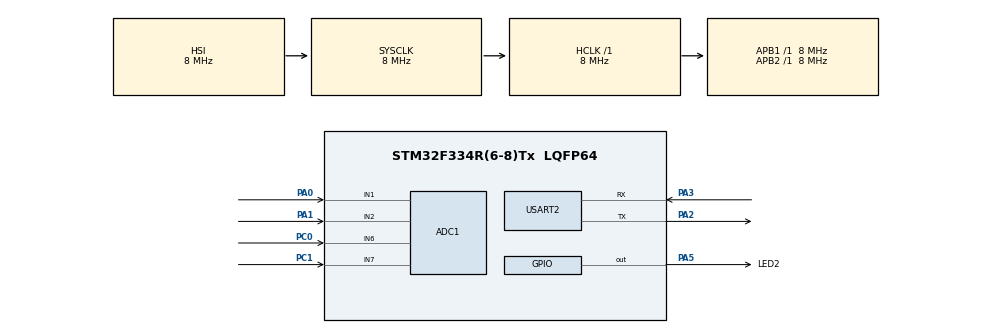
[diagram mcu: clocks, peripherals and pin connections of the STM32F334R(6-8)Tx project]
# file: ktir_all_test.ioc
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ADC1.Channel-0\#ChannelRegularConversion=ADC_CHANNEL_1
ADC1.Channel-1\#ChannelRegularConversion=ADC_CHANNEL_2
ADC1.Channel-2\#ChannelRegularConversion=ADC_CHANNEL_6
ADC1.Channel-3\#ChannelRegularConversion=ADC_CHANNEL_7
ADC1.ContinuousConvMode=DISABLE
ADC1.NbrOfConversion=4
ADC1.NbrOfConversionFlag=1
ADC1.Offset-0\#ChannelRegularConversion=0
ADC1.Offset-1\#ChannelRegularConversion=0
ADC1.Offset-2\#ChannelRegularConversion=0
ADC1.Offset-3\#ChannelRegularConversion=0
ADC1.OffsetNumber-0\#ChannelRegularConversion=ADC_OFFSET_NONE
ADC1.OffsetNumber-1\#ChannelRegularConversion=ADC_OFFSET_NONE
ADC1.OffsetNumber-2\#ChannelRegularConversion=ADC_OFFSET_NONE
ADC1.OffsetNumber-3\#ChannelRegularConversion=ADC_OFFSET_NONE
ADC1.Rank-0\#ChannelRegularConversion=1
ADC1.Rank-1\#ChannelRegularConversion=2
ADC1.Rank-2\#ChannelRegularConversion=3
ADC1.Rank-3\#ChannelRegularConversion=4
ADC1.SamplingTime-0\#ChannelRegularConversion=ADC_SAMPLETIME_1CYCLE_5
ADC1.SamplingTime-1\#ChannelRegularConversion=ADC_SAMPLETIME_1CYCLE_5
ADC1.SamplingTime-2\#ChannelRegularConversion=ADC_SAMPLETIME_1CYCLE_5
ADC1.SamplingTime-3\#ChannelRegularConversion=ADC_SAMPLETIME_1CYCLE_5
ADC1.SamplingTimeOPAMP-3\#ChannelRegularConversion=ADC_SAMPLETIME_7CYCLES_5
ADC1.master=1
Dma.ADC1.0.Direction=DMA_PERIPH_TO_MEMORY
Dma.ADC1.0.Instance=DMA1_Channel1
Dma.ADC1.0.MemDataAlignment=DMA_MDATAALIGN_HALFWORD
Dma.ADC1.0.MemInc=DMA_MINC_ENABLE
Dma.ADC1.0.Mode=DMA_NORMAL
Dma.ADC1.0.PeriphDataAlignment=DMA_PDATAALIGN_HALFWORD
Dma.ADC1.0.PeriphInc=DMA_PINC_DISABLE
Dma.ADC1.0.Priority=DMA_PRIORITY_LOW
Dma.Request0=ADC1
Mcu.Family=STM32F3
Mcu.Name=STM32F334R(6-8)Tx
Mcu.Package=LQFP64
NVIC.DMA1_Channel1_IRQn=true\:0\:0\:false\:false\:true\:false\:true
NVIC.PriorityGroup=NVIC_PRIORITYGROUP_4
PA0.Mode=IN1-Single-Ended
PA0.Signal=ADC1_IN1
PA1.Mode=IN2-Single-Ended
PA1.Signal=ADC1_IN2
PA2.Mode=Asynchronous
PA2.Signal=USART2_TX
PA3.Mode=Asynchronous
PA3.Signal=USART2_RX
PA5.GPIO_Label=LED2
PA5.Signal=GPIO_Output
PC0.Signal=ADCx_IN6
PC1.Signal=ADCx_IN7
ProjectManager.HeapSize=0x200
ProjectManager.StackSize=0x400
ProjectManager.TargetToolchain=STM32CubeIDE
RCC.AHBFreq_Value=8000000
RCC.APB1Freq_Value=8000000
RCC.APB2Freq_Value=8000000
RCC.CortexFreq_Value=8000000
RCC.HSE_VALUE=8000000
RCC.HSI_VALUE=8000000
RCC.LSE_VALUE=32768
RCC.PLLMUL=RCC_PLL_MUL4
RCC.SYSCLKFreq_VALUE=8000000
SH.ADCx_IN6.0=ADC1_IN6,IN6-Single-Ended
SH.ADCx_IN7.0=ADC1_IN7,IN7-Single-Ended
USART2.VirtualMode-Asynchronous=VM_ASYNC
board=custom

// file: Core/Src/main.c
/* USER CODE BEGIN Header */
/**
  ******************************************************************************
  * @file           : main.c
  * @brief          : Main program body
  ******************************************************************************
  * @attention
  *
  * Copyright (c) 2022 STMicroelectronics.
  * All rights reserved.
  *
  * This software is licensed under terms that can be found in the LICENSE file
  * in the root directory of this software component.
  * If no LICENSE file comes with this software, it is provided AS-IS.
  *
  ******************************************************************************
  */
/* USER CODE END Header */
#include "main.h"

/* USER CODE BEGIN Includes */
#include <stdio.h>

/* USER CODE END Includes */

/* USER CODE BEGIN PD */
#define NUMBER_OF_SENSORS 4
/* USER CODE END PD */

ADC_HandleTypeDef hadc1;
DMA_HandleTypeDef hdma_adc1;

UART_HandleTypeDef huart2;

/* USER CODE BEGIN PV */
volatile uint16_t	ktir_results[NUMBER_OF_SENSORS];
volatile uint8_t 	conversion_complete = 0;
/* USER CODE END PV */

void SystemClock_Config(void);
static void MX_GPIO_Init(void);
static void MX_DMA_Init(void);
static void MX_ADC1_Init(void);
static void MX_USART2_UART_Init(void);

/* USER CODE BEGIN 0 */
int __io_putchar(int ch)
{
  if (ch == '\n') {
    __io_putchar('\r');
  }

  HAL_UART_Transmit(&huart2, (uint8_t*)&ch, 1, HAL_MAX_DELAY);

  return 1;
}

void HAL_ADC_ConvCpltCallback(ADC_HandleTypeDef* hadc)
{
	conversion_complete = 1;
}
/* USER CODE END 0 */

int main(void)
{

  /* MCU Configuration--------------------------------------------------------*/

  /* Reset of all peripherals, Initializes the Flash interface and the Systick. */
  HAL_Init();

  /* Configure the system clock */
  SystemClock_Config();

  /* Initialize all configured peripherals */
  MX_GPIO_Init();
  MX_DMA_Init();
  MX_ADC1_Init();
  MX_USART2_UART_Init();

  /* Infinite loop */
  /* USER CODE BEGIN WHILE */
  	uint32_t tick = HAL_GetTick();
	while (1)
	{
    /* USER CODE END WHILE */

    /* USER CODE BEGIN 3 */
	  if(HAL_GetTick() - tick > 400){
		  HAL_ADC_Start_DMA(&hadc1, (uint32_t*) ktir_results, NUMBER_OF_SENSORS);
		  while (conversion_complete == 0){
			  printf(".");
		  }
		  conversion_complete = 0;
		  printf("\n");

		  printf("Result 1: %d\tResult 2: %d\tResult 3: %d\tResult 4: %d\n", ktir_results[0], ktir_results[1], ktir_results[2], ktir_results[3]);
		  tick = HAL_GetTick();
		  HAL_GPIO_TogglePin(LED2_GPIO_Port, LED2_Pin);
	  }
	}
  /* USER CODE END 3 */
}

void SystemClock_Config(void)
{
  RCC_OscInitTypeDef RCC_OscInitStruct = {0};
  RCC_ClkInitTypeDef RCC_ClkInitStruct = {0};
  RCC_PeriphCLKInitTypeDef PeriphClkInit = {0};

  /** Initializes the RCC Oscillators according to the specified parameters
  * in the RCC_OscInitTypeDef structure.
  */
  RCC_OscInitStruct.OscillatorType = RCC_OSCILLATORTYPE_HSI;
  RCC_OscInitStruct.HSIState = RCC_HSI_ON;
  RCC_OscInitStruct.HSICalibrationValue = RCC_HSICALIBRATION_DEFAULT;
  RCC_OscInitStruct.PLL.PLLState = RCC_PLL_ON;
  RCC_OscInitStruct.PLL.PLLSource = RCC_PLLSOURCE_HSI;
  RCC_OscInitStruct.PLL.PLLMUL = RCC_PLL_MUL4;
  if (HAL_RCC_OscConfig(&RCC_OscInitStruct) != HAL_OK)
  {
    Error_Handler();
  }
  /** Initializes the CPU, AHB and APB buses clocks
  */
  RCC_ClkInitStruct.ClockType = RCC_CLOCKTYPE_HCLK|RCC_CLOCKTYPE_SYSCLK
                              |RCC_CLOCKTYPE_PCLK1|RCC_CLOCKTYPE_PCLK2;
  RCC_ClkInitStruct.SYSCLKSource = RCC_SYSCLKSOURCE_HSI;
  RCC_ClkInitStruct.AHBCLKDivider = RCC_SYSCLK_DIV1;
  RCC_ClkInitStruct.APB1CLKDivider = RCC_HCLK_DIV1;
  RCC_ClkInitStruct.APB2CLKDivider = RCC_HCLK_DIV1;

  if (HAL_RCC_ClockConfig(&RCC_ClkInitStruct, FLASH_LATENCY_0) != HAL_OK)
  {
    Error_Handler();
  }
  PeriphClkInit.PeriphClockSelection = RCC_PERIPHCLK_ADC12;
  PeriphClkInit.Adc12ClockSelection = RCC_ADC12PLLCLK_DIV1;
  if (HAL_RCCEx_PeriphCLKConfig(&PeriphClkInit) != HAL_OK)
  {
    Error_Handler();
  }
}

static void MX_ADC1_Init(void)
{

  ADC_MultiModeTypeDef multimode = {0};
  ADC_ChannelConfTypeDef sConfig = {0};

  /** Common config
  */
  hadc1.Instance = ADC1;
  hadc1.Init.ClockPrescaler = ADC_CLOCK_ASYNC_DIV1;
  hadc1.Init.Resolution = ADC_RESOLUTION_12B;
  hadc1.Init.ScanConvMode = ADC_SCAN_ENABLE;
  hadc1.Init.ContinuousConvMode = DISABLE;
  hadc1.Init.DiscontinuousConvMode = DISABLE;
  hadc1.Init.ExternalTrigConvEdge = ADC_EXTERNALTRIGCONVEDGE_NONE;
  hadc1.Init.ExternalTrigConv = ADC_SOFTWARE_START;
  hadc1.Init.DataAlign = ADC_DATAALIGN_RIGHT;
  hadc1.Init.NbrOfConversion = 4;
  hadc1.Init.DMAContinuousRequests = DISABLE;
  hadc1.Init.EOCSelection = ADC_EOC_SINGLE_CONV;
  hadc1.Init.LowPowerAutoWait = DISABLE;
  hadc1.Init.Overrun = ADC_OVR_DATA_OVERWRITTEN;
  if (HAL_ADC_Init(&hadc1) != HAL_OK)
  {
    Error_Handler();
  }
  /** Configure the ADC multi-mode
  */
  multimode.Mode = ADC_MODE_INDEPENDENT;
  if (HAL_ADCEx_MultiModeConfigChannel(&hadc1, &multimode) != HAL_OK)
  {
    Error_Handler();
  }
  /** Configure Regular Channel
  */
  sConfig.Channel = ADC_CHANNEL_1;
  sConfig.Rank = ADC_REGULAR_RANK_1;
  sConfig.SingleDiff = ADC_SINGLE_ENDED;
  sConfig.SamplingTime = ADC_SAMPLETIME_1CYCLE_5;
  sConfig.OffsetNumber = ADC_OFFSET_NONE;
  sConfig.Offset = 0;
  if (HAL_ADC_ConfigChannel(&hadc1, &sConfig) != HAL_OK)
  {
    Error_Handler();
  }
  /** Configure Regular Channel
  */
  sConfig.Channel = ADC_CHANNEL_2;
  sConfig.Rank = ADC_REGULAR_RANK_2;
  if (HAL_ADC_ConfigChannel(&hadc1, &sConfig) != HAL_OK)
  {
    Error_Handler();
  }
  /** Configure Regular Channel
  */
  sConfig.Channel = ADC_CHANNEL_6;
  sConfig.Rank = ADC_REGULAR_RANK_3;
  if (HAL_ADC_ConfigChannel(&hadc1, &sConfig) != HAL_OK)
  {
    Error_Handler();
  }
  /** Configure Regular Channel
  */
  sConfig.Channel = ADC_CHANNEL_7;
  sConfig.Rank = ADC_REGULAR_RANK_4;
  if (HAL_ADC_ConfigChannel(&hadc1, &sConfig) != HAL_OK)
  {
    Error_Handler();
  }

}

static void MX_USART2_UART_Init(void)
{

  huart2.Instance = USART2;
  huart2.Init.BaudRate = 38400;
  huart2.Init.WordLength = UART_WORDLENGTH_8B;
  huart2.Init.StopBits = UART_STOPBITS_1;
  huart2.Init.Parity = UART_PARITY_NONE;
  huart2.Init.Mode = UART_MODE_TX_RX;
  huart2.Init.HwFlowCtl = UART_HWCONTROL_NONE;
  huart2.Init.OverSampling = UART_OVERSAMPLING_16;
  huart2.Init.OneBitSampling = UART_ONE_BIT_SAMPLE_DISABLE;
  huart2.AdvancedInit.AdvFeatureInit = UART_ADVFEATURE_NO_INIT;
  if (HAL_UART_Init(&huart2) != HAL_OK)
  {
    Error_Handler();
  }

}

static void MX_DMA_Init(void)
{

  /* DMA controller clock enable */
  __HAL_RCC_DMA1_CLK_ENABLE();

  /* DMA interrupt init */
  /* DMA1_Channel1_IRQn interrupt configuration */
  HAL_NVIC_SetPriority(DMA1_Channel1_IRQn, 0, 0);
  HAL_NVIC_EnableIRQ(DMA1_Channel1_IRQn);

}

static void MX_GPIO_Init(void)
{
  GPIO_InitTypeDef GPIO_InitStruct = {0};

  /* GPIO Ports Clock Enable */
  __HAL_RCC_GPIOC_CLK_ENABLE();
  __HAL_RCC_GPIOA_CLK_ENABLE();

  /*Configure GPIO pin Output Level */
  HAL_GPIO_WritePin(LED2_GPIO_Port, LED2_Pin, GPIO_PIN_RESET);

  /*Configure GPIO pin : LED2_Pin */
  GPIO_InitStruct.Pin = LED2_Pin;
  GPIO_InitStruct.Mode = GPIO_MODE_OUTPUT_PP;
  GPIO_InitStruct.Pull = GPIO_NOPULL;
  GPIO_InitStruct.Speed = GPIO_SPEED_FREQ_LOW;
  HAL_GPIO_Init(LED2_GPIO_Port, &GPIO_InitStruct);

}

void Error_Handler(void)
{
  __disable_irq();
  while (1)
  {
  }
}
